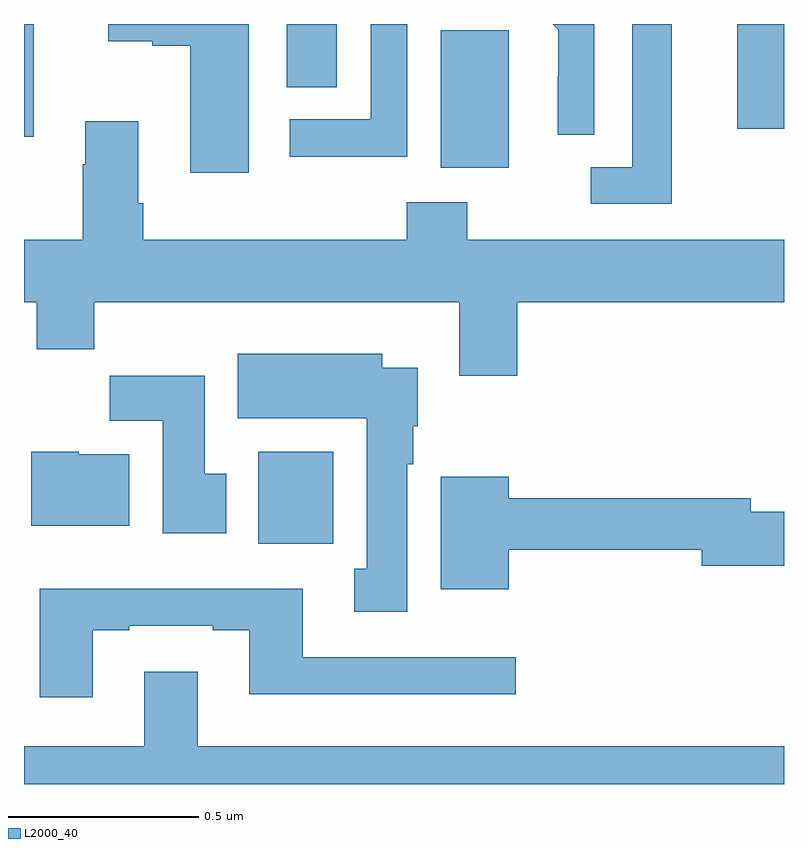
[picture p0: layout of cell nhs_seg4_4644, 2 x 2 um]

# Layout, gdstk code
import gdstk
lib = gdstk.Library(unit=1e-6, precision=1e-09)
def R(c, l, rs):  # rectangles x0, y0, x1, y1
    for r in rs: c.add(gdstk.rectangle(r[:2], r[2:], *l))
def P(c, l, *ps):  # polygons
    for p in ps: c.add(gdstk.Polygon(p, *l))
L2000_40 = (2000, 40)

nhs_seg4_4644 = lib.new_cell('nhs_seg4_4644')
R(nhs_seg4_4644, L2000_40, [(168.617,781.532,168.814,781.774), (169.097,782.522,169.276,782.883), (168,782.603,168.026,782.9), (169.877,782.625,170,782.9), (168.692,782.734,168.823,782.9)])
P(nhs_seg4_4644, L2000_40, [(169.5,782.9),(169.391,782.9),(169.406,782.885),(169.406,782.762),(169.404,782.762),(169.404,782.608),(169.5,782.608)],
  [(169.705,782.9),(169.601,782.9),(169.601,782.523),(169.491,782.523),(169.491,782.427),(169.705,782.427)],
  [(169.008,782.9),(168.912,782.9),(168.912,782.649),(168.699,782.649),(168.699,782.551),(169.008,782.551)],
  [(168.592,782.9),(168.222,782.9),(168.222,782.855),(168.338,782.855),(168.338,782.843),(168.437,782.843),(168.437,782.508),(168.592,782.508)],
  [(169.298,782.168),(170,782.168),(170,782.332),(169.167,782.332),(169.167,782.431),(169.007,782.431),(169.007,782.332),(168.314,782.332),(168.314,782.428),(168.301,782.428),(168.301,782.644),(168.161,782.644),(168.161,782.531),(168.154,782.531),(168.154,782.332),(168,782.332),(168,782.168),(168.034,782.168),(168.034,782.044),(168.185,782.044),(168.185,782.168),(169.145,782.168),(169.145,781.974),(169.298,781.974)],
  [(169.009,781.742),(169.024,781.742),(169.024,781.842),(169.036,781.842),(169.036,781.996),(168.943,781.996),(168.943,782.032),(168.563,782.032),(168.563,781.862),(168.902,781.862),(168.902,781.466),(168.869,781.466),(168.869,781.353),(169.009,781.353)],
  [(168.532,781.716),(168.475,781.716),(168.475,781.974),(168.226,781.974),(168.226,781.856),(168.365,781.856),(168.365,781.56),(168.532,781.56)],
  [(168.277,781.768),(168.144,781.768),(168.144,781.774),(168.019,781.774),(168.019,781.58),(168.277,781.58)],
  [(169.276,781.516),(169.784,781.516),(169.784,781.474),(170,781.474),(170,781.616),(169.912,781.616),(169.912,781.652),(169.276,781.652),(169.276,781.708),(169.097,781.708),(169.097,781.412),(169.276,781.412)],
  [(168.181,781.305),(168.277,781.305),(168.277,781.317),(168.497,781.317),(168.497,781.305),(168.593,781.305),(168.593,781.136),(169.294,781.136),(169.294,781.233),(168.733,781.233),(168.733,781.414),(168.041,781.414),(168.041,781.128),(168.181,781.128)],
  [(170,781),(168.457,781),(168.457,781.195),(168.317,781.195),(168.317,781),(168,781),(168,780.9),(170,780.9)])

lib.write_gds('nhs_seg4_4644.gds')
